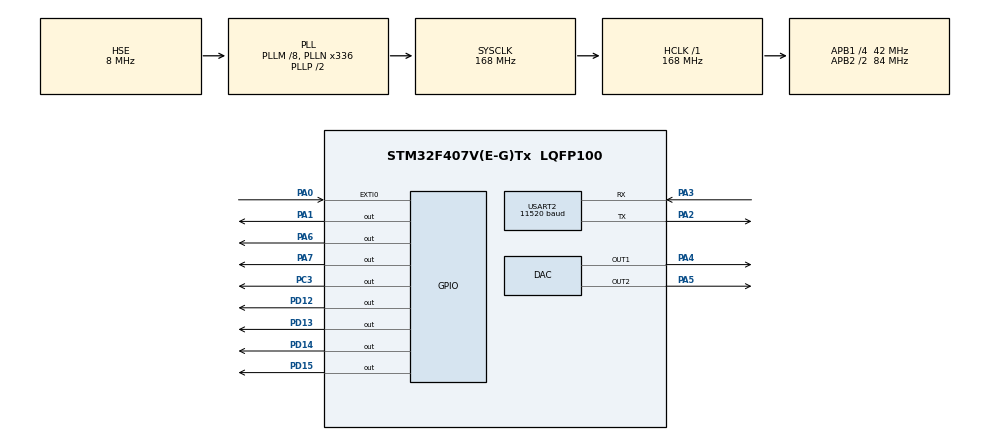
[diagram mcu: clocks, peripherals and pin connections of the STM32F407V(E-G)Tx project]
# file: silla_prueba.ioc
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DAC.DAC_Channel=DAC_CHANNEL_1
DAC.DAC_Channel2=DAC_CHANNEL_2
DAC.WaveGeneration=DISABLE
DAC.WaveGeneration2=DISABLE
Dma.Request0=USART2_RX
Dma.USART2_RX.0.Direction=DMA_PERIPH_TO_MEMORY
Dma.USART2_RX.0.FIFOMode=DMA_FIFOMODE_ENABLE
Dma.USART2_RX.0.FIFOThreshold=DMA_FIFO_THRESHOLD_FULL
Dma.USART2_RX.0.Instance=DMA1_Stream5
Dma.USART2_RX.0.MemBurst=DMA_MBURST_SINGLE
Dma.USART2_RX.0.MemDataAlignment=DMA_MDATAALIGN_BYTE
Dma.USART2_RX.0.MemInc=DMA_MINC_ENABLE
Dma.USART2_RX.0.Mode=DMA_CIRCULAR
Dma.USART2_RX.0.PeriphBurst=DMA_PBURST_SINGLE
Dma.USART2_RX.0.PeriphDataAlignment=DMA_PDATAALIGN_BYTE
Dma.USART2_RX.0.PeriphInc=DMA_PINC_DISABLE
Dma.USART2_RX.0.Priority=DMA_PRIORITY_LOW
Mcu.Family=STM32F4
Mcu.Name=STM32F407V(E-G)Tx
Mcu.Package=LQFP100
NVIC.DMA1_Stream5_IRQn=true\:0\:0\:false\:false\:true
NVIC.EXTI0_IRQn=true\:0\:0\:false\:false\:true
NVIC.PriorityGroup=NVIC_PRIORITYGROUP_0
NVIC.TIM2_IRQn=true\:0\:0\:false\:false\:true
NVIC.USART2_IRQn=true\:0\:0\:false\:false\:true
PA0-WKUP.Signal=GPXTI0
PA1.Signal=GPIO_Output
PA2.Mode=Asynchronous
PA2.Signal=USART2_TX
PA3.Mode=Asynchronous
PA3.Signal=USART2_RX
PA4.Signal=COMP_DAC1_group
PA5.Signal=COMP_DAC2_group
PA6.Signal=GPIO_Output
PA7.Signal=GPIO_Output
PC3.Signal=GPIO_Output
PD12.Signal=GPIO_Output
PD13.Signal=GPIO_Output
PD14.Signal=GPIO_Output
PD15.Signal=GPIO_Output
PH0-OSC_IN.Mode=HSE-External-Oscillator
PH0-OSC_IN.Signal=RCC_OSC_IN
PH1-OSC_OUT.Mode=HSE-External-Oscillator
PH1-OSC_OUT.Signal=RCC_OSC_OUT
ProjectManager.HeapSize=0x200
ProjectManager.StackSize=0x400
ProjectManager.TargetToolchain=MDK-ARM V5
RCC.48MHZClocksFreq_Value=48000000
RCC.AHBCLKDivider=RCC_SYSCLK_DIV1
RCC.AHBFreq_Value=168000000
RCC.APB1CLKDivider=RCC_HCLK_DIV4
RCC.APB1Freq_Value=42000000
RCC.APB1TimFreq_Value=84000000
RCC.APB2CLKDivider=RCC_HCLK_DIV2
RCC.APB2Freq_Value=84000000
RCC.APB2TimFreq_Value=168000000
RCC.ClockTypeHCLK=RCC_CLOCKTYPE_HCLK
RCC.ClockTypePCLK1=RCC_CLOCKTYPE_PCLK1
RCC.ClockTypePCLK2=RCC_CLOCKTYPE_PCLK2
RCC.ClockTypeSysClk=RCC_CLOCKTYPE_SYSCLK
RCC.CortexFreq_Value=168000000
RCC.EnableExtClockForI2S=false
RCC.EnableHSE=true
RCC.EnableHSERTCDevisor=false
RCC.EnableLSE=false
RCC.EnableLSERTC=false
RCC.ExtClockEnable=false
RCC.HCLKFreq_Value=168000000
RCC.HSEState=RCC_HSE_ON
RCC.HSE_VALUE=8000000
RCC.HSIState=RCC_HSI_OFF
RCC.HSI_VALUE=16000000
RCC.I2SEnable=false
RCC.IWDGEnable=false
RCC.LSE_VALUE=32768
RCC.LSIState=RCC_LSI_OFF
RCC.MCO1OutPutEnable=false
RCC.MCO2OutPutEnable=false
RCC.OscillatorTypeHSE=RCC_OSCILLATORTYPE_HSE
RCC.OscillatorTypeHSI=RCC_OSCILLATORTYPE_HSI
RCC.PLLM=8
RCC.PLLN=336
RCC.PLLP=RCC_PLLP_DIV2
RCC.PLLQ=7
RCC.PLLSource=RCC_PLLSOURCE_HSE
RCC.PLLSourceVirtual=RCC_PLLSOURCE_HSE
RCC.PLLState=RCC_PLL_ON
RCC.RNGEnable=false
RCC.RTCEnable=false
RCC.SDIOEnable=false
RCC.SYSCLKFreq_VALUE=168000000
RCC.SYSCLKSource=RCC_SYSCLKSOURCE_PLLCLK
RCC.USBFSEnable=false
RCC.USBHSEnable=false
RCC.VCOOutputFreq_Value=336000000
SH.COMP_DAC1_group.0=DAC_OUT1,DAC_OUT1
SH.COMP_DAC2_group.0=DAC_OUT2,DAC_OUT2
TIM2.Period=10000
TIM2.Prescaler=16800
TIM2.TIM_MasterOutputTrigger=TIM_TRGO_UPDATE
USART2.BaudRate=11520
USART2.HwFlowCtl-Asynchronous=UART_HWCONTROL_NONE
USART2.VirtualMode=VM_ASYNC
VP_TIM2_VS_ClockSourceINT.Mode=Internal
board=STM32F4DISCOVERY

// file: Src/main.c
/**
  ******************************************************************************
  * File Name          : main.c
  * Description        : Main program body
  ******************************************************************************
  *
  * COPYRIGHT(c) 2018 STMicroelectronics
  *
  * Redistribution and use in source and binary forms, with or without modification,
  * are permitted provided that the following conditions are met:
  *   1. Redistributions of source code must retain the above copyright notice,
  *      this list of conditions and the following disclaimer.
  *   2. Redistributions in binary form must reproduce the above copyright notice,
  *      this list of conditions and the following disclaimer in the documentation
  *      and/or other materials provided with the distribution.
  *   3. Neither the name of STMicroelectronics nor the names of its contributors
  *      may be used to endorse or promote products derived from this software
  *      without specific prior written permission.
  *
  * THIS SOFTWARE IS PROVIDED BY THE COPYRIGHT HOLDERS AND CONTRIBUTORS "AS IS"
  * AND ANY EXPRESS OR IMPLIED WARRANTIES, INCLUDING, BUT NOT LIMITED TO, THE
  * IMPLIED WARRANTIES OF MERCHANTABILITY AND FITNESS FOR A PARTICULAR PURPOSE ARE
  * DISCLAIMED. IN NO EVENT SHALL THE COPYRIGHT HOLDER OR CONTRIBUTORS BE LIABLE
  * FOR ANY DIRECT, INDIRECT, INCIDENTAL, SPECIAL, EXEMPLARY, OR CONSEQUENTIAL
  * DAMAGES (INCLUDING, BUT NOT LIMITED TO, PROCUREMENT OF SUBSTITUTE GOODS OR
  * SERVICES; LOSS OF USE, DATA, OR PROFITS; OR BUSINESS INTERRUPTION) HOWEVER
  * CAUSED AND ON ANY THEORY OF LIABILITY, WHETHER IN CONTRACT, STRICT LIABILITY,
  * OR TORT (INCLUDING NEGLIGENCE OR OTHERWISE) ARISING IN ANY WAY OUT OF THE USE
  * OF THIS SOFTWARE, EVEN IF ADVISED OF THE POSSIBILITY OF SUCH DAMAGE.
  *
  ******************************************************************************
  */
#include "main.h"
#include "stm32f4xx_hal.h"

/* USER CODE BEGIN Includes */
#define CENTRO_JOYSTICK       210 //este valor es independiente a la funcion, es para iniciar correctamente la silla y detener movimiento
#define CENTRO_JOYSTICK_FUNCTION  194
#define MAX_SPEED_DIGITAL_VALUE  167
#define MIN_SPEED_DIGITAL_VALUE  97  //97
#define MAX_SPEED_DIGITAL_VALUE_X  255
#define MIN_SPEED_DIGITAL_VALUE_X  160  //179
#define DELAY_MS_BOTONES      150
#define UP_BUTTON_PIN     GPIO_PIN_7
#define DOWN_BUTTON_PIN   GPIO_PIN_6
#define DELAY_SILLA_STOP  2

#define UART_DATA_SIZE 13

#define UART_HEADER_LENGHT 4

#define VALID_DATA_START 4
#define VALID_DATA_LENGTH 5

#define UART_COUNTER_POS 8

#define HEADER_VALID_VALUE 160

#define DELAY_COUNTDOWN 5 //delay de si no recibo el comando cerrar app

#define ERROR_COUNTDOWN_TO_SHUTDOWN 4

#define INIT_SPEED 3

#define Y_AXIS_CORRECTION_THRESHOLD 135

#define X_AXIS_CORRECTION_MAGNITUD 3
enum{
	POWER_ON,
	POWER_OFF,
	POWER_PULSE,
	DOWN_BUTTON,
	UP_BUTTON,
};

/* USER CODE END Includes */

DAC_HandleTypeDef hdac;

TIM_HandleTypeDef htim2;

UART_HandleTypeDef huart2;
DMA_HandleTypeDef hdma_usart2_rx;

/* USER CODE BEGIN PV */
/* Private variables ---------------------------------------------------------*/

/* USER CODE END PV */

void SystemClock_Config(void);
void Error_Handler(void);
static void MX_GPIO_Init(void);
static void MX_DMA_Init(void);
static void MX_DAC_Init(void);
static void MX_USART2_UART_Init(void);
static void MX_TIM2_Init(void);

/* USER CODE BEGIN PFP */
/* Private function prototypes -----------------------------------------------*/

void ResetLeds(void);
void LightLeds(void);
void ToggleLeds(void);
void TurnOnLeds(void);
void centerJoystick(void);
void clean_data_uart(void);
void lower_speed(void);
void initial_speed(void);
void init_conditions(void);
void turn_on_off_pulse(void);
void lower_pulse(void);
void rise_pulse(void);

/* USER CODE END PFP */

/* USER CODE BEGIN 0 */

uint8_t data_uart[UART_DATA_SIZE];
uint8_t xcoord=CENTRO_JOYSTICK;
uint8_t ycoord=CENTRO_JOYSTICK;
uint8_t xmax=0;
uint8_t ymax=0;
uint8_t received_done=0;
uint8_t send_done=0;
uint8_t keep_moving=0;
uint8_t timer_counter=0;
uint8_t timer_countdown = DELAY_COUNTDOWN; //delay de si no recibo el comando cerrar app
uint8_t timer_countdown_activate=0;
uint8_t running_program=0;
uint8_t chair_speed=0;
uint8_t send_data[UART_DATA_SIZE];
uint8_t resta_velocidad_recibida_velocidad_actual=0;
uint8_t timer_movement_activate=0;
uint8_t is_on = 0;
uint8_t command_check =0;
uint8_t command_check_count=0;
uint8_t ack_recived =0;
uint32_t wait_ack_counter =0;
uint8_t uart_counter = 255;
uint8_t error_counter_to_shutdown = 0;
/* USER CODE END 0 */

int main(void)
{

  /* USER CODE BEGIN 1 */
	float m, n;

	uint8_t desviacion = 255 - CENTRO_JOYSTICK_FUNCTION ;

  clean_data_uart();
  xcoord=CENTRO_JOYSTICK;
  ycoord=CENTRO_JOYSTICK;
	xmax=0;
  ymax=0;
  received_done=0;

  m = (float)(desviacion)/(MAX_SPEED_DIGITAL_VALUE - 127);

	n = CENTRO_JOYSTICK_FUNCTION - (127 * m);

  /* USER CODE END 1 */

  /* MCU Configuration----------------------------------------------------------*/

  /* Reset of all peripherals, Initializes the Flash interface and the Systick. */
  HAL_Init();

  /* Configure the system clock */
  SystemClock_Config();

  /* Initialize all configured peripherals */
  MX_GPIO_Init();
  MX_DMA_Init();
  MX_DAC_Init();
  MX_USART2_UART_Init();
  MX_TIM2_Init();

  /* USER CODE BEGIN 2 */
	//HAL_GPIO_WritePin(GPIOD,GPIO_PIN_12,GPIO_PIN_SET);

	//HAL_Delay(1000);
	//TurnOnLeds();

			//pines de botones en 1

	HAL_GPIO_WritePin(GPIOC,GPIO_PIN_3,GPIO_PIN_SET);
	//HAL_GPIO_WritePin(GPIOA,GPIO_PIN_1,GPIO_PIN_SET);
	HAL_GPIO_WritePin(GPIOA,DOWN_BUTTON_PIN,GPIO_PIN_SET);
	HAL_GPIO_WritePin(GPIOA,UP_BUTTON_PIN,GPIO_PIN_SET);

	HAL_DAC_Start(&hdac, DAC_CHANNEL_1);
	HAL_DAC_Start(&hdac, DAC_CHANNEL_2);

	centerJoystick();

	HAL_Delay(500);

	turn_on_off_pulse();

	HAL_TIM_Base_Start_IT(&htim2); //timer por IT a 2seg

		//HAL_GPIO_WritePin(GPIOD,GPIO_PIN_13,GPIO_PIN_SET);

	//HAL_UART_Receive_DMA(&huart2, &data_uart[0], UART_DATA_SIZE);  //dma no funciona no se porque

//	HAL_GPIO_WritePin(GPIOD,GPIO_PIN_15,GPIO_PIN_SET);
  /* USER CODE END 2 */

  /* Infinite loop */
  while (1)
  {

  /* USER CODE BEGIN 3 */
		//start:

    HAL_UART_Receive_IT(&huart2, &data_uart[0], UART_DATA_SIZE);
		//HAL_UART_Receive_DMA(&huart2, &data_uart[0], UART_DATA_SIZE); //dma no funciona no se porque

		if(running_program==1 &&  is_on == 1 && timer_countdown==0){  // Cuenta atras de comunicacion si no se recibe el comando de comunicacion en este tiempo se apaga la silla

				running_program=0;
				timer_countdown_activate=0;
			  //timer_countdown=0;

				turn_on_off_pulse();

			  init_conditions();
			  //NVIC_SystemReset();
			  continue;

		}

		if (received_done==1){

			received_done=0;

			if(data_uart[VALID_DATA_START]==170 && data_uart[VALID_DATA_START+1]==170 && data_uart[VALID_DATA_START+2]==170 && data_uart[VALID_DATA_START+3]==170 && running_program==0){  //aplicacion corriendo en Raspi y no recibio mensaje de inicio de aplicacion

					uint16_t i=0;
		      for(i=0; i< UART_HEADER_LENGHT; i++){

		        data_uart[i]=HEADER_VALID_VALUE;

		      }
					data_uart[VALID_DATA_START]=0xDD;
				  data_uart[VALID_DATA_START+1]=0xDD;
				  data_uart[VALID_DATA_START+2]=0xDD;
				  data_uart[VALID_DATA_START+3]=0xDD;
					data_uart[UART_COUNTER_POS]= 0xDD;

				  for(i=VALID_DATA_START+VALID_DATA_LENGTH; i< UART_DATA_SIZE; i++){

		        data_uart[VALID_DATA_START+VALID_DATA_LENGTH + i]=HEADER_VALID_VALUE;

		      }

				HAL_UART_Transmit(&huart2, &data_uart[0], UART_DATA_SIZE,50);

				init_conditions();

				continue;
				//HAL_Delay(1000);

				//NVIC_SystemReset();
			}

			if(running_program==0 && data_uart[VALID_DATA_START]==204 && data_uart[VALID_DATA_START+1]==204 && data_uart[VALID_DATA_START+2]==204 && data_uart[VALID_DATA_START+3]==204){  //pregunto si recibio el comando de inicio de programa

			   running_program = 1;
				 timer_countdown_activate=1;
				 timer_countdown = DELAY_COUNTDOWN;
			}
		  if(running_program==0){  // si no lo recibo termino paso del ciclo y repite hasta que se reciba

			  continue;

			}

			if(data_uart[VALID_DATA_START]==77 && data_uart[VALID_DATA_START+1]==77){  // aqui recibo seсal de soltado el joystick detengo movimiento apago leds

				centerJoystick();
				keep_moving=0;
			  ResetLeds();
				//HAL_TIM_Base_Stop_IT(&htim2);
				timer_movement_activate = 0;

			  uint16_t i=0;
		    for(i=0; i< UART_HEADER_LENGHT; i++){

		      data_uart[i]=HEADER_VALID_VALUE;

		    }
				data_uart[VALID_DATA_START]=83;
		    data_uart[VALID_DATA_START+1]=83;
		    data_uart[VALID_DATA_START+2]=83;
		    data_uart[VALID_DATA_START+3]=83;
				data_uart[UART_COUNTER_POS]= 0;

				for(i=VALID_DATA_START+VALID_DATA_LENGTH; i< UART_DATA_SIZE; i++){

		      data_uart[VALID_DATA_START+VALID_DATA_LENGTH + i]=HEADER_VALID_VALUE;

		    }
				//}
		    HAL_UART_Transmit(&huart2, &data_uart[0], UART_DATA_SIZE,50);
				//clean_data_uart();

	    }

	    if(data_uart[VALID_DATA_START]==1){

//				  while(ack_recived !=1){
//
//						wait_ack_counter++;
//
//						if(wait_ack_counter >= 500){
//							wait_ack_counter = 0;
//						  goto start;
//						}
//					}
//					wait_ack_counter = 0;
//					ack_recived=0;

				  if(data_uart[VALID_DATA_START+1] < MIN_SPEED_DIGITAL_VALUE){
					  xcoord = MIN_SPEED_DIGITAL_VALUE_X;
					}
				  else if(data_uart[VALID_DATA_START+1] > MAX_SPEED_DIGITAL_VALUE){ //Aseguroque xcoord no sobrepase los 255
					  xcoord = MAX_SPEED_DIGITAL_VALUE_X;
				  }
				  else{
	          //xcoord = (uint8_t)(data_uart[VALID_DATA_START+1]*0.9486 + 96.0516);//sobrepasa el 255 para altos valores//de esta forma cubre el rango reversa //original
						//xcoord = (uint8_t)(data_uart[VALID_DATA_START+1]*0.5028 + 171.03);//sobrepasa el 255 para altos valores
						//xcoord = (uint8_t)(data_uart[VALID_DATA_START+1]*0.4791 +  174.9903);//sobrepasa el 255 para altos valores// aqui la velocidad hacia la derecha max es la misma que izquierda max
						if(data_uart[VALID_DATA_START+3] > Y_AXIS_CORRECTION_THRESHOLD){

							xcoord -= (uint8_t)((float)(((uint8_t)(xcoord - 127))/X_AXIS_CORRECTION_MAGNITUD));
						}
						xcoord = (uint8_t)(data_uart[VALID_DATA_START+1]*m + n);

				  }
				  //xcoord = (uint8_t)(data_uart[1]*0.6245 + 96.38);
				  ////sobrepasa el 255 para altos valores
					if(data_uart[VALID_DATA_START+3] < 85){
					  ycoord = 166;
					}
				  else if(data_uart[VALID_DATA_START+3] > MAX_SPEED_DIGITAL_VALUE){  //Aseguroque ycoord no sobrepase los 255
				  	ycoord = 255;
				  }
				  else{
				    //ycoord = (uint8_t)(data_uart[3]*0.6269 + 96.38);
				  	//ycoord = (uint8_t)(data_uart[VALID_DATA_START+3]*0.9522 + 96.0516);//sobrepasa el 255 para altos valores//de esta forma cubre el rango reversa  //original
						//ycoord = (uint8_t)(data_uart[VALID_DATA_START+3]*0.5028 + 171.03);//sobrepasa el 255 para altos valores // aqui la velocidad hacia atras max es la misma que adelante max
						//ycoord = (uint8_t)(data_uart[VALID_DATA_START+3]*0.4791 + 174.9903);//sobrepasa el 255 para altos valores // aqui la velocidad hacia atras max es la misma que adelante max
						//ycoord = (uint8_t)(data_uart[VALID_DATA_START+3]*0.9522 + 96.0516); //217 medio
						ycoord = (uint8_t)(data_uart[VALID_DATA_START+3]*m + n);//213 medio
				  }

				  HAL_DAC_SetValue(&hdac, DAC_CHANNEL_1, DAC_ALIGN_8B_R, xcoord);
				  HAL_DAC_SetValue(&hdac, DAC_CHANNEL_2, DAC_ALIGN_8B_R, ycoord);

				  timer_countdown=DELAY_COUNTDOWN;

	    }

			if(data_uart[VALID_DATA_START]==170 && data_uart[VALID_DATA_START+1]==170 && data_uart[VALID_DATA_START+2]==170 && data_uart[VALID_DATA_START+3]==170){  // aqui recibo cada segundo comando de comunicacion y reinicio contador

				timer_countdown=DELAY_COUNTDOWN;

	    }

			if(data_uart[VALID_DATA_START]==69 && data_uart[VALID_DATA_START+1]==69 && data_uart[VALID_DATA_START+2]==69 && data_uart[VALID_DATA_START+3]==69){  // aqui recibo cada segundo comando de comunicacion y reinicio contador

				if(is_on == 1){
				  turn_on_off_pulse();
				}

				//NVIC_SystemReset();
	    }

		  if(data_uart[VALID_DATA_START]==72 && data_uart[VALID_DATA_START+2]==72 && data_uart[VALID_DATA_START+3]==72){ //Aumentar************************************************************************

				  chair_speed = data_uart[VALID_DATA_START+1];

				  rise_pulse();

	    }

		  if(data_uart[VALID_DATA_START]==76 && data_uart[VALID_DATA_START+2]==76 && data_uart[VALID_DATA_START+3]==76){ //disminuir*******************************************************************

				   chair_speed = data_uart[VALID_DATA_START+1];

				   lower_pulse();
	    }

		  if(data_uart[VALID_DATA_START]==84){ //encendido

				//HAL_GPIO_TogglePin(GPIOC,GPIO_PIN_3);

				turn_on_off_pulse();

				if(data_uart[VALID_DATA_START+1]==79 && data_uart[VALID_DATA_START+2]==70 && data_uart[VALID_DATA_START+3]==70){ //aqui apaga
				  is_on=0;
				}
				if(data_uart[VALID_DATA_START+1]==0 && data_uart[VALID_DATA_START+2]==79 && data_uart[VALID_DATA_START+3]==78){ // aqui enciende
				  is_on=1;
					lower_speed(); // baja la velocidad al minimo al inicio del programa
					initial_speed(); //sube la velocidad hasta la velocidad inicial seleccionada
				}
				//clean_data_uart();
	    }

//		  if(data_uart[VALID_DATA_START]==67){ //claxon
//
//				if(data_uart[VALID_DATA_START+1]==100){
//
//				  HAL_GPIO_WritePin(GPIOA,GPIO_PIN_1,GPIO_PIN_SET);
//					//clean_data_uart();
//				}
//
//			  if(data_uart[VALID_DATA_START+1]==97){
//
//			    HAL_GPIO_WritePin(GPIOA,GPIO_PIN_1,GPIO_PIN_RESET);
//					//clean_data_uart();
//				}
//	    }

			if(data_uart[VALID_DATA_START]==75){ // keep moving  # K   //aqui recibo seсal de mantener movimiento y reinicio timer

				if(data_uart[VALID_DATA_START+1]==69 && data_uart[VALID_DATA_START+2]==69 && data_uart[VALID_DATA_START+3]==80){  // keep moving  # EEP

				  keep_moving=1;
					timer_counter=0;
					//clean_data_uart();
				}
	    }
			if(data_uart[VALID_DATA_START]==77){ // MOVE # M  //inicio de movimiento de joystick// aqui inicia el timer

				if(data_uart[VALID_DATA_START+1]==79 && data_uart[VALID_DATA_START+2]==86 && data_uart[VALID_DATA_START+3]==69){  // MOVE  # OVE

				  //HAL_TIM_Base_Start_IT(&htim2);
					timer_counter=0;
					timer_movement_activate = 1;

					//HAL_GPIO_WritePin(GPIOD,GPIO_PIN_13,GPIO_PIN_SET);
          //clean_data_uart();
				}
	    }

			//clean_data_uart();
	  }

  }
  /* USER CODE END 3 */

}

/** System Clock Configuration
*/
void SystemClock_Config(void)
{

  RCC_OscInitTypeDef RCC_OscInitStruct;
  RCC_ClkInitTypeDef RCC_ClkInitStruct;

    /**Configure the main internal regulator output voltage
    */
  __HAL_RCC_PWR_CLK_ENABLE();

  __HAL_PWR_VOLTAGESCALING_CONFIG(PWR_REGULATOR_VOLTAGE_SCALE1);

    /**Initializes the CPU, AHB and APB busses clocks
    */
  RCC_OscInitStruct.OscillatorType = RCC_OSCILLATORTYPE_HSE;
  RCC_OscInitStruct.HSEState = RCC_HSE_ON;
  RCC_OscInitStruct.PLL.PLLState = RCC_PLL_ON;
  RCC_OscInitStruct.PLL.PLLSource = RCC_PLLSOURCE_HSE;
  RCC_OscInitStruct.PLL.PLLM = 8;
  RCC_OscInitStruct.PLL.PLLN = 336;
  RCC_OscInitStruct.PLL.PLLP = RCC_PLLP_DIV2;
  RCC_OscInitStruct.PLL.PLLQ = 7;
  if (HAL_RCC_OscConfig(&RCC_OscInitStruct) != HAL_OK)
  {
    Error_Handler();
  }

    /**Initializes the CPU, AHB and APB busses clocks
    */
  RCC_ClkInitStruct.ClockType = RCC_CLOCKTYPE_HCLK|RCC_CLOCKTYPE_SYSCLK
                              |RCC_CLOCKTYPE_PCLK1|RCC_CLOCKTYPE_PCLK2;
  RCC_ClkInitStruct.SYSCLKSource = RCC_SYSCLKSOURCE_PLLCLK;
  RCC_ClkInitStruct.AHBCLKDivider = RCC_SYSCLK_DIV1;
  RCC_ClkInitStruct.APB1CLKDivider = RCC_HCLK_DIV4;
  RCC_ClkInitStruct.APB2CLKDivider = RCC_HCLK_DIV2;

  if (HAL_RCC_ClockConfig(&RCC_ClkInitStruct, FLASH_LATENCY_5) != HAL_OK)
  {
    Error_Handler();
  }

    /**Configure the Systick interrupt time
    */
  HAL_SYSTICK_Config(HAL_RCC_GetHCLKFreq()/1000);

    /**Configure the Systick
    */
  HAL_SYSTICK_CLKSourceConfig(SYSTICK_CLKSOURCE_HCLK);

  /* SysTick_IRQn interrupt configuration */
  HAL_NVIC_SetPriority(SysTick_IRQn, 0, 0);
}

/* DAC init function */
static void MX_DAC_Init(void)
{

  DAC_ChannelConfTypeDef sConfig;

    /**DAC Initialization
    */
  hdac.Instance = DAC;
  if (HAL_DAC_Init(&hdac) != HAL_OK)
  {
    Error_Handler();
  }

    /**DAC channel OUT1 config
    */
  sConfig.DAC_Trigger = DAC_TRIGGER_NONE;
  sConfig.DAC_OutputBuffer = DAC_OUTPUTBUFFER_ENABLE;
  if (HAL_DAC_ConfigChannel(&hdac, &sConfig, DAC_CHANNEL_1) != HAL_OK)
  {
    Error_Handler();
  }

    /**DAC channel OUT2 config
    */
  if (HAL_DAC_ConfigChannel(&hdac, &sConfig, DAC_CHANNEL_2) != HAL_OK)
  {
    Error_Handler();
  }

}

/* TIM2 init function */
static void MX_TIM2_Init(void)
{

  TIM_ClockConfigTypeDef sClockSourceConfig;
  TIM_MasterConfigTypeDef sMasterConfig;

  htim2.Instance = TIM2;
  htim2.Init.Prescaler = 16800;
  htim2.Init.CounterMode = TIM_COUNTERMODE_UP;
  htim2.Init.Period = 10000;
  htim2.Init.ClockDivision = TIM_CLOCKDIVISION_DIV1;
  if (HAL_TIM_Base_Init(&htim2) != HAL_OK)
  {
    Error_Handler();
  }

  sClockSourceConfig.ClockSource = TIM_CLOCKSOURCE_INTERNAL;
  if (HAL_TIM_ConfigClockSource(&htim2, &sClockSourceConfig) != HAL_OK)
  {
    Error_Handler();
  }

  sMasterConfig.MasterOutputTrigger = TIM_TRGO_UPDATE;
  sMasterConfig.MasterSlaveMode = TIM_MASTERSLAVEMODE_DISABLE;
  if (HAL_TIMEx_MasterConfigSynchronization(&htim2, &sMasterConfig) != HAL_OK)
  {
    Error_Handler();
  }

}

/* USART2 init function */
static void MX_USART2_UART_Init(void)
{

  huart2.Instance = USART2;
  huart2.Init.BaudRate = 115200;
  huart2.Init.WordLength = UART_WORDLENGTH_8B;
  huart2.Init.StopBits = UART_STOPBITS_1;
  huart2.Init.Parity = UART_PARITY_NONE;
  huart2.Init.Mode = UART_MODE_TX_RX;
  huart2.Init.HwFlowCtl = UART_HWCONTROL_NONE;
  huart2.Init.OverSampling = UART_OVERSAMPLING_16;
  if (HAL_UART_Init(&huart2) != HAL_OK)
  {
    Error_Handler();
  }

}

static void MX_DMA_Init(void)
{
  /* DMA controller clock enable */
  __HAL_RCC_DMA1_CLK_ENABLE();

  /* DMA interrupt init */
  /* DMA1_Stream5_IRQn interrupt configuration */
  HAL_NVIC_SetPriority(DMA1_Stream5_IRQn, 0, 0);
  HAL_NVIC_EnableIRQ(DMA1_Stream5_IRQn);

}

/** Configure pins as
        * Analog
        * Input
        * Output
        * EVENT_OUT
        * EXTI
*/
static void MX_GPIO_Init(void)
{

  GPIO_InitTypeDef GPIO_InitStruct;

  /* GPIO Ports Clock Enable */
  __HAL_RCC_GPIOH_CLK_ENABLE();
  __HAL_RCC_GPIOC_CLK_ENABLE();
  __HAL_RCC_GPIOA_CLK_ENABLE();
  __HAL_RCC_GPIOD_CLK_ENABLE();

  /*Configure GPIO pin Output Level */
  HAL_GPIO_WritePin(GPIOC, GPIO_PIN_3, GPIO_PIN_RESET);

  /*Configure GPIO pin Output Level */
  HAL_GPIO_WritePin(GPIOA, GPIO_PIN_1|GPIO_PIN_6|GPIO_PIN_7, GPIO_PIN_RESET);

  /*Configure GPIO pin Output Level */
  HAL_GPIO_WritePin(GPIOD, GPIO_PIN_12|GPIO_PIN_13|GPIO_PIN_14|GPIO_PIN_15, GPIO_PIN_RESET);

  /*Configure GPIO pin : PC3 */
  GPIO_InitStruct.Pin = GPIO_PIN_3;
  GPIO_InitStruct.Mode = GPIO_MODE_OUTPUT_PP;
  GPIO_InitStruct.Pull = GPIO_NOPULL;
  GPIO_InitStruct.Speed = GPIO_SPEED_FREQ_LOW;
  HAL_GPIO_Init(GPIOC, &GPIO_InitStruct);

  /*Configure GPIO pin : PA0 */
  GPIO_InitStruct.Pin = GPIO_PIN_0;
  GPIO_InitStruct.Mode = GPIO_MODE_IT_RISING;
  GPIO_InitStruct.Pull = GPIO_NOPULL;
  HAL_GPIO_Init(GPIOA, &GPIO_InitStruct);

  /*Configure GPIO pins : PA1 PA6 PA7 */
  GPIO_InitStruct.Pin = GPIO_PIN_1|GPIO_PIN_6|GPIO_PIN_7;
  GPIO_InitStruct.Mode = GPIO_MODE_OUTPUT_PP;
  GPIO_InitStruct.Pull = GPIO_NOPULL;
  GPIO_InitStruct.Speed = GPIO_SPEED_FREQ_LOW;
  HAL_GPIO_Init(GPIOA, &GPIO_InitStruct);

  /*Configure GPIO pins : PD12 PD13 PD14 PD15 */
  GPIO_InitStruct.Pin = GPIO_PIN_12|GPIO_PIN_13|GPIO_PIN_14|GPIO_PIN_15;
  GPIO_InitStruct.Mode = GPIO_MODE_OUTPUT_PP;
  GPIO_InitStruct.Pull = GPIO_NOPULL;
  GPIO_InitStruct.Speed = GPIO_SPEED_FREQ_LOW;
  HAL_GPIO_Init(GPIOD, &GPIO_InitStruct);

  /* EXTI interrupt init*/
  HAL_NVIC_SetPriority(EXTI0_IRQn, 0, 0);
  HAL_NVIC_EnableIRQ(EXTI0_IRQn);

}

/* USER CODE BEGIN 4 */
void HAL_UART_RxCpltCallback(UART_HandleTypeDef *huart){

	 if(data_uart[0]==HEADER_VALID_VALUE && data_uart[1]==HEADER_VALID_VALUE && data_uart[2]==HEADER_VALID_VALUE && data_uart[3]==HEADER_VALID_VALUE){

			if(data_uart[VALID_DATA_START+VALID_DATA_LENGTH]==HEADER_VALID_VALUE && data_uart[VALID_DATA_START+VALID_DATA_LENGTH+1]==HEADER_VALID_VALUE && data_uart[VALID_DATA_START+VALID_DATA_LENGTH+2]==HEADER_VALID_VALUE && data_uart[VALID_DATA_START+VALID_DATA_LENGTH+3]==HEADER_VALID_VALUE){

				received_done=1;

				if(data_uart[UART_COUNTER_POS] == uart_counter){

						centerJoystick();
	          error_counter_to_shutdown++;

					  if(error_counter_to_shutdown >= ERROR_COUNTDOWN_TO_SHUTDOWN){

							Error_Handler();
						}
				}
				uart_counter = data_uart[UART_COUNTER_POS];
        data_uart[UART_COUNTER_POS] = 0;
			}

	 }

   HAL_UART_Transmit(&huart2, &data_uart[0], UART_DATA_SIZE, 50);
}

//void HAL_UART_TxCpltCallback(UART_HandleTypeDef *huart){

//}

void HAL_TIM_PeriodElapsedCallback(TIM_HandleTypeDef *htim){  // se desborda 2seg y mando a parar la silla y apago leds

  ToggleLeds();

	if(timer_movement_activate == 1){

	  timer_counter++;
	}

	if(timer_countdown_activate == 1){

	  timer_countdown--;
	}

//	if(timer_counter >= DELAY_SILLA_STOP){
//
//	   keep_moving=0;
//	   centerJoystick();
//	   ResetLeds();
//		 timer_counter = 0;
//		 timer_movement_activate = 0;
//
//		 uint16_t i=0;
//		 for(i=0; i< UART_HEADER_LENGHT; i++){
//
//		   data_uart[i]=HEADER_VALID_VALUE;

//		 }

//		 data_uart[VALID_DATA_START]=83;
//		 data_uart[VALID_DATA_START+1]=83;
//		 data_uart[VALID_DATA_START+2]=83;
//		 data_uart[VALID_DATA_START+3]=83;
//		 data_uart[UART_COUNTER_POS]=0;
//
//
//		 for(i=VALID_DATA_START+VALID_DATA_LENGTH; i< UART_DATA_SIZE; i++){
//
//		   data_uart[VALID_DATA_START+VALID_DATA_LENGTH + i]=HEADER_VALID_VALUE;

//		 }
//				//}
//		 HAL_UART_Transmit(&huart2, &data_uart[0], UART_DATA_SIZE,50);
//
//	}

}

void init_conditions(){

	clean_data_uart();
  xcoord=CENTRO_JOYSTICK;
  ycoord=CENTRO_JOYSTICK;
	xmax=0;
  ymax=0;
  received_done=0;
  send_done=0;
  keep_moving=0;
  timer_counter=0;
  timer_countdown=DELAY_COUNTDOWN;
  timer_countdown_activate=0;
  running_program=0;
  timer_movement_activate=0;
  is_on = 0;
	command_check=0;
	command_check_count=0;
	ack_recived = 0;

}

void centerJoystick(){

	xcoord = CENTRO_JOYSTICK;
	ycoord = CENTRO_JOYSTICK;
  HAL_DAC_SetValue(&hdac, DAC_CHANNEL_1, DAC_ALIGN_8B_R, CENTRO_JOYSTICK); //centro 2.5V,2.5V
	HAL_DAC_SetValue(&hdac, DAC_CHANNEL_2, DAC_ALIGN_8B_R, CENTRO_JOYSTICK);

}

void initial_speed(){

  for(uint8_t i=0; i< INIT_SPEED -1; i++){

    HAL_GPIO_WritePin(GPIOA, UP_BUTTON_PIN ,GPIO_PIN_RESET);
		HAL_Delay(DELAY_MS_BOTONES);
		HAL_GPIO_WritePin(GPIOA, UP_BUTTON_PIN,GPIO_PIN_SET);
		HAL_Delay(DELAY_MS_BOTONES);
	}
	timer_countdown=DELAY_COUNTDOWN;
}

void lower_speed(){

  for(uint8_t i=0; i< 5; i++){

    HAL_GPIO_WritePin(GPIOA, DOWN_BUTTON_PIN ,GPIO_PIN_RESET);
		HAL_Delay(DELAY_MS_BOTONES);
		HAL_GPIO_WritePin(GPIOA, DOWN_BUTTON_PIN,GPIO_PIN_SET);
		HAL_Delay(DELAY_MS_BOTONES);
	}
	timer_countdown=DELAY_COUNTDOWN;
}

void ResetLeds(){

	HAL_GPIO_WritePin(GPIOD,GPIO_PIN_15,GPIO_PIN_RESET);
	HAL_GPIO_WritePin(GPIOD,GPIO_PIN_14,GPIO_PIN_RESET);
	HAL_GPIO_WritePin(GPIOD,GPIO_PIN_13,GPIO_PIN_RESET);
	HAL_GPIO_WritePin(GPIOD,GPIO_PIN_12,GPIO_PIN_RESET);

}

void ToggleLeds(){

  HAL_GPIO_TogglePin(GPIOD,GPIO_PIN_15);
	HAL_GPIO_TogglePin(GPIOD,GPIO_PIN_13);
	HAL_GPIO_TogglePin(GPIOD,GPIO_PIN_12);
	HAL_GPIO_TogglePin(GPIOD,GPIO_PIN_14);

}

void LightLeds(){

	if(xcoord > CENTRO_JOYSTICK){   //debe ser 217 - 2.5V al la salida del DAC medio del joystick
		HAL_GPIO_WritePin(GPIOD,GPIO_PIN_12,GPIO_PIN_SET);
		HAL_GPIO_WritePin(GPIOD,GPIO_PIN_14,GPIO_PIN_RESET);
	}
  else{
		HAL_GPIO_WritePin(GPIOD,GPIO_PIN_14,GPIO_PIN_SET);
		HAL_GPIO_WritePin(GPIOD,GPIO_PIN_12,GPIO_PIN_RESET);
	}

  if(ycoord > CENTRO_JOYSTICK){
		HAL_GPIO_WritePin(GPIOD,GPIO_PIN_15,GPIO_PIN_SET);
	  HAL_GPIO_WritePin(GPIOD,GPIO_PIN_13,GPIO_PIN_RESET);
	}
  else{
		HAL_GPIO_WritePin(GPIOD,GPIO_PIN_13,GPIO_PIN_SET);
	  HAL_GPIO_WritePin(GPIOD,GPIO_PIN_15,GPIO_PIN_RESET);
	}

}

void TurnOnLeds(){

	HAL_GPIO_WritePin(GPIOD,GPIO_PIN_15,GPIO_PIN_SET);
	HAL_GPIO_WritePin(GPIOD,GPIO_PIN_14,GPIO_PIN_SET);
	HAL_GPIO_WritePin(GPIOD,GPIO_PIN_13,GPIO_PIN_SET);
	HAL_GPIO_WritePin(GPIOD,GPIO_PIN_12,GPIO_PIN_SET);

}

void clean_data_uart(){

	uint16_t i=0;
  for(i=0;i< UART_DATA_SIZE; i++){

		data_uart[i]=0;
	}

}

void lower_pulse(void){

            HAL_GPIO_WritePin(GPIOA, DOWN_BUTTON_PIN, GPIO_PIN_RESET);
			      HAL_Delay(DELAY_MS_BOTONES);
			      HAL_GPIO_WritePin(GPIOA, DOWN_BUTTON_PIN, GPIO_PIN_SET);
					  HAL_Delay(DELAY_MS_BOTONES);
}

void rise_pulse(void){

            HAL_GPIO_WritePin(GPIOA, UP_BUTTON_PIN ,GPIO_PIN_RESET);
			      HAL_Delay(DELAY_MS_BOTONES);
			      HAL_GPIO_WritePin(GPIOA, UP_BUTTON_PIN ,GPIO_PIN_SET);
					  HAL_Delay(DELAY_MS_BOTONES);
}

void turn_on_off_pulse(void){

        HAL_GPIO_WritePin(GPIOC,GPIO_PIN_3,GPIO_PIN_RESET);
			  HAL_Delay(DELAY_MS_BOTONES);
			  HAL_GPIO_WritePin(GPIOC,GPIO_PIN_3,GPIO_PIN_SET);
	      HAL_Delay(DELAY_MS_BOTONES);
}

void HAL_UART_ErrorCallback(UART_HandleTypeDef *huart)
{
  centerJoystick();
}
/* USER CODE END 4 */

void Error_Handler(void)
{
  /* USER CODE BEGIN Error_Handler */
  /* User can add his own implementation to report the HAL error return state */

	centerJoystick();

	data_uart[VALID_DATA_START]=111;
	data_uart[VALID_DATA_START+1]=111;
	data_uart[VALID_DATA_START+2]=111;
	data_uart[VALID_DATA_START+3]=111;
	data_uart[UART_COUNTER_POS]=111;

	HAL_UART_Transmit(&huart2, &data_uart[0], UART_DATA_SIZE, 50);

	NVIC_SystemReset();

  while(1)
  {
  }
  /* USER CODE END Error_Handler */
}

/************************ (C) COPYRIGHT STMicroelectronics *****END OF FILE****/
